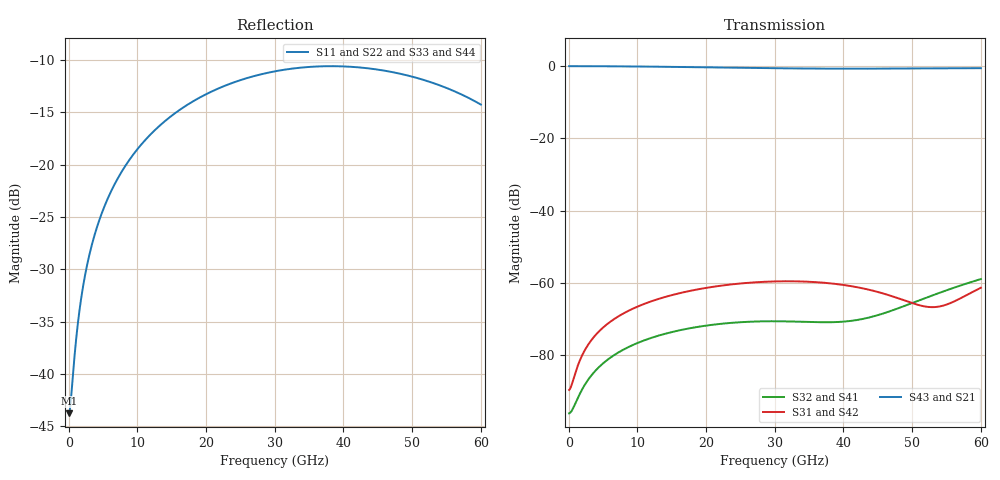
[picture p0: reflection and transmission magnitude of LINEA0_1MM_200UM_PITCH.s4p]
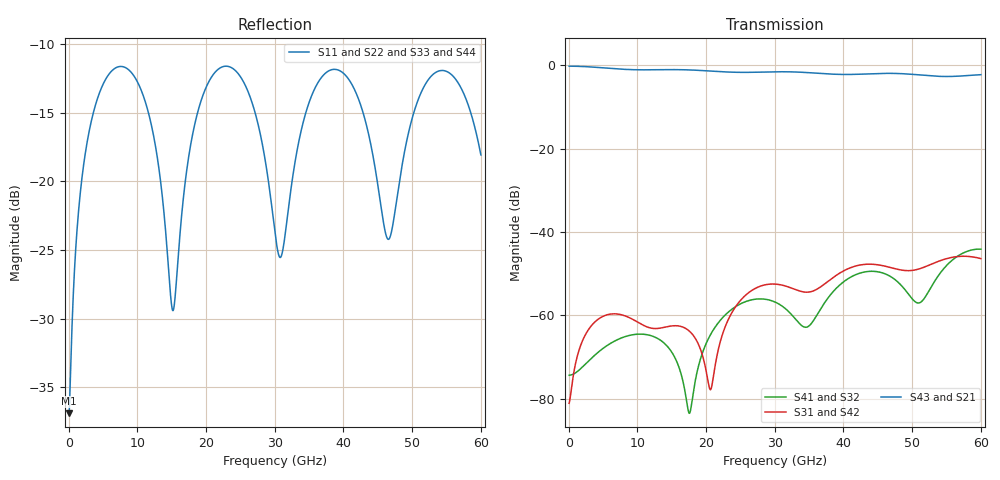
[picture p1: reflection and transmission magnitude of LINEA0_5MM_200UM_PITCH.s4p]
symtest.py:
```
"""Does the line A / line B asymmetry spoil the 5 x 1 mm cascade?
Force exact A/B symmetry (average S with its A<->B mirror image) in both
files, then cascade again and compare with the raw cascade."""
import numpy as np
from first_look_lib import load4
from cascade_naive import star
P = [2, 3, 0, 1]                          # swap ports 1<->3, 2<->4 (line A <-> line B)
sym = lambda S: 0.5*(S + S[:, P][:, :, P])
f, S1 = load4("LINEA0_1MM_200UM_PITCH.s4p"); _, S5 = load4("LINEA0_5MM_200UM_PITCH.s4p")
def chain(S, n=5):
    C = S
    for _ in range(n-1): C = star(C, S)
    return C
db = lambda x: 20*np.log10(abs(x)); G = f/1e9
cases = {"raw": (S5, chain(S1)), "A/B symmetrised": (sym(S5), chain(sym(S1)))}
print(" GHz |      NEXT S31: 5mm  5x1mm (raw) | 5mm  5x1mm (sym) ||  FEXT S41: 5mm 5x1mm (raw) | 5mm 5x1mm (sym)")
for g in (1, 10, 20, 30, 45, 60):
    i = np.argmin(abs(G-g)); r5, rc = cases["raw"]; s5, sc = cases["A/B symmetrised"]
    print(f"{g:4d} | {db(r5[i,2,0]):7.1f} {db(rc[i,2,0]):7.1f} | {db(s5[i,2,0]):7.1f} {db(sc[i,2,0]):7.1f} || "
          f"{db(r5[i,3,0]):7.1f} {db(rc[i,3,0]):7.1f} | {db(s5[i,3,0]):7.1f} {db(sc[i,3,0]):7.1f}")
```
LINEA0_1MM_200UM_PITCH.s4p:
! TOUCHSTONE file generated by CST MICROWAVE STUDIO
! Date and time: Wed Oct 14 10:40:22 2026
! Project name: LINEA0_1MM_200UM_PITCH.cst
! Parameters = {CHANNEL_PITCH=0.2; GAP=0.00415; L=1; L1=0.02; L2=0.086; L3=0.066; NCELL=1; PITCH=0.18; START_POSITION=0.08; W1=0.003; W2=0.004; W3=0.009; WG=0.04985; gap_oxr=0.00125; linbo3_thickness=0.0002; mtx=0.002; oxiDinE=0.0014; w=0.15; ws=0.035}
! Header version: 2024
! Port assignment regex: !\s*Touchstone port\s*([0-9]+)\s*=\s*(CST MWS port|CST DES external port|CST DES block port)\s*(.+)\s* \(\"(.*)\"\)(\s*mode\s*([0-9]+))?.*
! Touchstone port assignment:
! Touchstone port 1 = CST MWS port 1 ("")
! Touchstone port 2 = CST MWS port 2 ("")
! Touchstone port 3 = CST MWS port 3 ("")
! Touchstone port 4 = CST MWS port 4 ("")
# GHz S MA R 50
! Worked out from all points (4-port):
!   1000 points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, 60 MHz to 60 GHz, reference 50 ohm
!   strongest paths, dB at 60 MHz, 15.06 GHz, 30.06 GHz, 45.06 GHz, 60 GHz:
!     S43: -0.1, -0.3, -0.6, -0.7, -0.6
!     S21: -0.1, -0.3, -0.6, -0.7, -0.6
!     S31: -89.6, -63.4, -59.6, -62.6, -61.4
!     S42: -89.6, -63.4, -59.6, -62.6, -61.4
!     S32: -96.1, -73.6, -70.6, -68.9, -59.0
!     S41: -96.1, -73.6, -70.6, -68.9, -59.0
!   lowest |S11| = -43.7 dB at 60 MHz (marker M1), VSWR 1.01, Z = 50.6 - j0.0756 ohm
!   |S11| at or under -10 dB: start of sweep to end of sweep
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0.06  0.006495 -6.6  0.9921 -0.2  3.3e-05 4.9  1.566e-05 176.4
      0.9921 -0.2  0.006495 -6.6  1.566e-05 176.4  3.3e-05 4.9
      3.3e-05 4.9  1.566e-05 176.4  0.006485 -6.6  0.9921 -0.2
      1.566e-05 176.4  3.3e-05 4.9  0.9921 -0.2  0.006485 -6.6
15.36  0.175 -123.6  0.9694 -38.4  0.0006892 48.8  0.0002121 20.7
       0.9694 -38.4  0.175 -123.6  0.0002121 20.7  0.0006892 48.8
       0.0006892 48.8  0.0002121 20.7  0.1751 -123.6  0.9694 -38.4
       0.0002121 20.7  0.0006892 48.8  0.9694 -38.4  0.1751 -123.6
60  0.1937 137.7  0.9306 -141.3  0.0008552 27.8  0.001127 -105.1
    0.9306 -141.3  0.1937 137.7  0.001127 -105.1  0.0008552 27.8
    0.0008552 27.8  0.001127 -105.1  0.1939 137.7  0.9307 -141.2
    0.001127 -105.1  0.0008552 27.8  0.9307 -141.2  0.1939 137.7
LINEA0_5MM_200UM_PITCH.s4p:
! TOUCHSTONE file generated by CST MICROWAVE STUDIO
! Date and time: Thu Oct 15 09:16:29 2026
! Project name: LINEA0_5MM_200UM_PITCH.cst
! Parameters = {CHANNEL_PITCH=0.2; GAP=0.00415; L=5; L1=0.02; L2=0.086; L3=0.066; NCELL=1; PITCH=0.18; START_POSITION=0.08; W1=0.003; W2=0.004; W3=0.009; WG=0.04985; gap_oxr=0.00125; linbo3_thickness=0.0002; mtx=0.002; oxiDinE=0.0014; w=0.15; ws=0.035}
! Header version: 2024
! Port assignment regex: !\s*Touchstone port\s*([0-9]+)\s*=\s*(CST MWS port|CST DES external port|CST DES block port)\s*(.+)\s* \(\"(.*)\"\)(\s*mode\s*([0-9]+))?.*
! Touchstone port assignment:
! Touchstone port 1 = CST MWS port 1 ("")
! Touchstone port 2 = CST MWS port 2 ("")
! Touchstone port 3 = CST MWS port 3 ("")
! Touchstone port 4 = CST MWS port 4 ("")
# GHz S MA R 50
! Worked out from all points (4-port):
!   1000 points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, 60 MHz to 60 GHz, reference 50 ohm
!   strongest paths, dB at 60 MHz, 15.06 GHz, 30.06 GHz, 45.06 GHz, 60 GHz:
!     S43: -0.2, -1.0, -1.5, -1.9, -2.2
!     S21: -0.2, -1.0, -1.5, -2.0, -2.2
!     S31: -81.1, -62.5, -52.5, -47.9, -46.4
!     S42: -81.1, -62.5, -52.5, -47.9, -46.4
!     S41: -74.4, -69.0, -56.8, -49.6, -44.1
!     S32: -74.4, -69.0, -56.8, -49.6, -44.1
!   lowest |S11| = -36.9 dB at 60 MHz (marker M1), VSWR 1.03, Z = 51.4 - j0.352 ohm
!   |S11| at or under -10 dB: start of sweep to end of sweep
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0.06  0.01428 -13.9  0.9786 -0.8  8.818e-05 9.2  0.0001907 177.2
      0.9786 -0.8  0.01428 -13.9  0.0001907 177.2  8.818e-05 9.2
      8.81e-05 9.2  0.0001911 177.2  0.01426 -13.9  0.9786 -0.8
      0.0001911 177.2  8.81e-05 9.2  0.9786 -0.8  0.01426 -13.9
15.06  0.0343 176.1  0.8898 -178.9  0.0007479 -18.1  0.0003559 117.3
       0.8898 -178.9  0.0343 176.1  0.0003559 117.3  0.0007479 -18.1
       0.000748 -18.1  0.0003557 117.3  0.03434 175.7  0.89 -178.8
       0.0003557 117.3  0.000748 -18.1  0.89 -178.8  0.03434 175.7
60  0.125 146.1  0.7726 22.2  0.004802 -67.7  0.006239 -26.9
    0.7726 22.2  0.125 146.1  0.006239 -26.9  0.004802 -67.7
    0.004801 -67.7  0.006236 -26.9  0.1256 146.0  0.7733 22.3
    0.006236 -26.9  0.004801 -67.7  0.7733 22.3  0.1256 146.0
